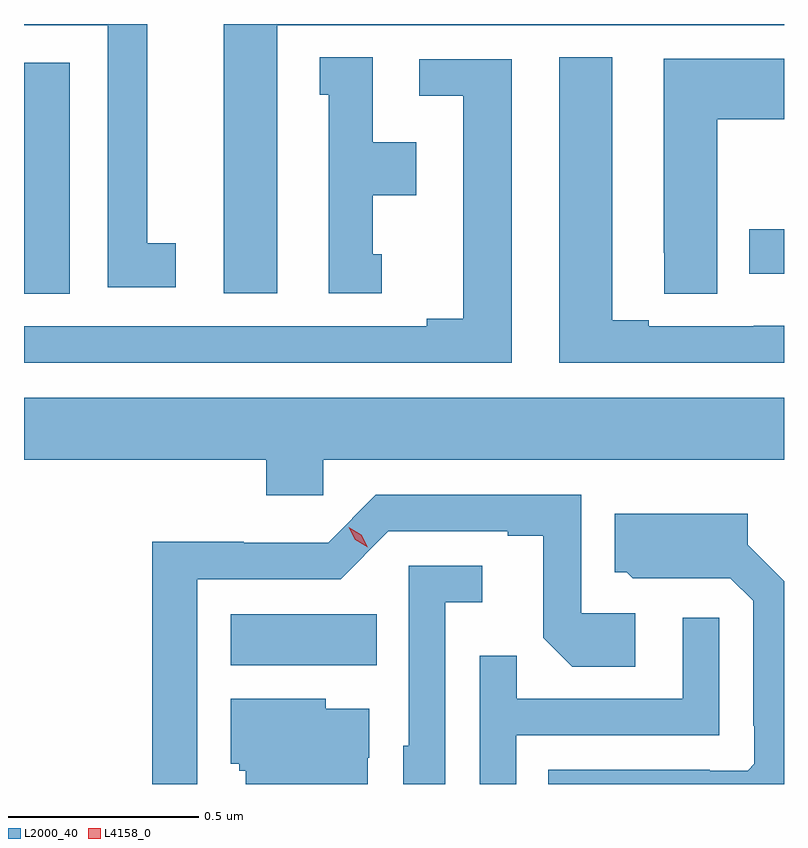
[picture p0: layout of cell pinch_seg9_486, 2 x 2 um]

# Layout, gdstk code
import gdstk
lib = gdstk.Library(unit=1e-6, precision=1e-09)
def R(c, l, rs):  # rectangles x0, y0, x1, y1
    for r in rs: c.add(gdstk.rectangle(r[:2], r[2:], *l))
def P(c, l, *ps):  # polygons
    for p in ps: c.add(gdstk.Polygon(p, *l))
L2000_40 = (2000, 40)
L4158_0 = (4158, 0)

pinch_seg9_486 = lib.new_cell('pinch_seg9_486')
R(pinch_seg9_486, L2000_40, [(265.91,1197.212,266.294,1197.346), (265.366,1198.189,265.486,1198.797), (267.275,1198.242,267.366,1198.359)])
P(pinch_seg9_486, L2000_40, [(265.765,1198.322),(265.69,1198.322),(265.69,1198.899),(265.366,1198.899),(265.366,1198.896),(265.586,1198.896),(265.586,1198.206),(265.765,1198.206)],
  [(266.032,1198.896),(267.366,1198.896),(267.366,1198.899),(265.892,1198.899),(265.892,1198.191),(266.032,1198.191)],
  [(266.308,1198.293),(266.284,1198.293),(266.284,1198.448),(266.398,1198.448),(266.398,1198.588),(266.284,1198.588),(266.284,1198.811),(266.144,1198.811),(266.144,1198.713),(266.168,1198.713),(266.168,1198.191),(266.308,1198.191)],
  [(267.366,1198.105),(267.286,1198.105),(267.286,1198.104),(267.01,1198.104),(267.01,1198.119),(266.914,1198.119),(266.914,1198.811),(266.774,1198.811),(266.774,1198.008),(267.366,1198.008)],
  [(267.19,1198.648),(267.366,1198.648),(267.366,1198.807),(267.05,1198.807),(267.05,1198.297),(267.051,1198.297),(267.051,1198.189),(267.19,1198.189)],
  [(266.65,1198.806),(266.406,1198.806),(266.406,1198.71),(266.522,1198.71),(266.522,1198.124),(266.426,1198.124),(266.426,1198.104),(265.366,1198.104),(265.366,1198.008),(266.65,1198.008)],
  [(266.154,1197.752),(267.366,1197.752),(267.366,1197.916),(265.366,1197.916),(265.366,1197.752),(266.003,1197.752),(266.003,1197.659),(266.154,1197.659)],
  [(265.822,1197.438),(266.199,1197.438),(266.325,1197.564),(266.639,1197.564),(266.639,1197.552),(266.733,1197.552),(266.733,1197.284),(266.809,1197.208),(266.974,1197.208),(266.974,1197.348),(266.832,1197.348),(266.832,1197.66),(266.292,1197.66),(266.166,1197.534),(265.944,1197.534),(265.944,1197.536),(265.704,1197.536),(265.704,1196.899),(265.822,1196.899)],
  [(267.366,1197.433),(267.271,1197.528),(267.271,1197.61),(266.921,1197.61),(266.921,1197.456),(266.952,1197.456),(266.968,1197.44),(267.102,1197.44),(267.102,1197.441),(267.225,1197.441),(267.285,1197.381),(267.285,1197.052),(267.288,1197.052),(267.288,1196.952),(267.27,1196.934),(267.17,1196.934),(267.17,1196.937),(266.746,1196.937),(266.746,1196.899),(267.366,1196.899)],
  [(266.475,1197.377),(266.572,1197.377),(266.572,1197.474),(266.379,1197.474),(266.379,1197),(266.364,1197),(266.364,1196.899),(266.475,1196.899)],
  [(266.661,1197.027),(267.195,1197.027),(267.195,1197.337),(267.099,1197.337),(267.099,1197.123),(266.663,1197.123),(266.663,1197.236),(266.565,1197.236),(266.565,1196.899),(266.661,1196.899)],
  [(266.271,1196.968),(266.275,1196.968),(266.275,1197.097),(266.16,1197.097),(266.16,1197.124),(265.91,1197.124),(265.91,1196.952),(265.932,1196.952),(265.932,1196.934),(265.949,1196.934),(265.949,1196.899),(266.271,1196.899)])
P(pinch_seg9_486, L4158_0, [(266.27,1197.522),(266.238,1197.542),(266.221,1197.575),(266.221,1197.575),(266.221,1197.575),(266.253,1197.555),(266.27,1197.522),(266.27,1197.522)])

lib.write_gds('pinch_seg9_486.gds')
